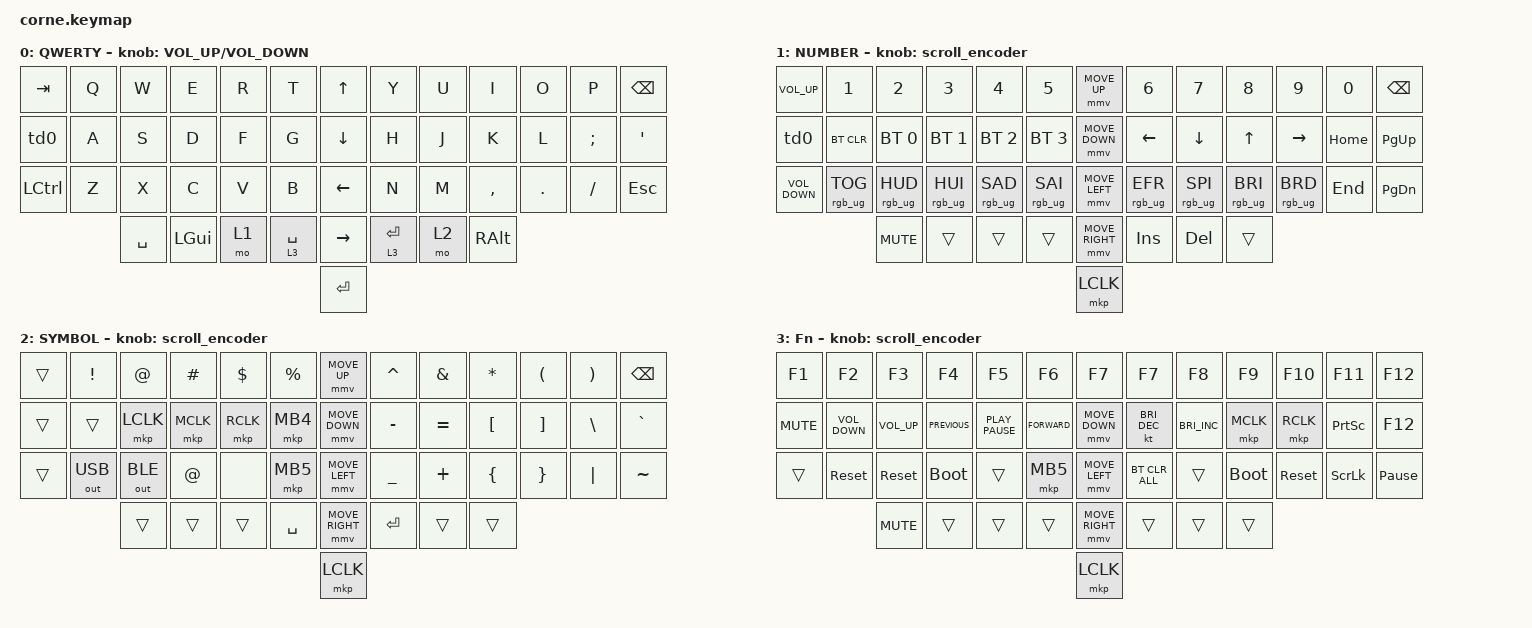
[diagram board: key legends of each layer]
#include <behaviors/mouse_keys.dtsi>
#include <dt-bindings/zmk/mouse.h>
#include <behaviors.dtsi>
#include <dt-bindings/zmk/bt.h>
#include <dt-bindings/zmk/keys.h>
#include <dt-bindings/zmk/outputs.h>
#include <dt-bindings/zmk/pointing.h>
#include <dt-bindings/zmk/rgb.h>

#define ZMK_MOUSE_DEFAULT_MOVE_VAL 1200  // 600
#define ZMK_MOUSE_DEFAULT_SCRL_VAL 20    // 10
#define U_MS_U &mmv MOVE_UP
#define U_MS_D &mmv MOVE_DOWN
#define U_MS_L &mmv MOVE_LEFT
#define U_MS_R &mmv MOVE_RIGHT

/ {
    behaviors {
        td0: td0 {
            compatible = "zmk,behavior-tap-dance";
            label = "TD0";
            #binding-cells = <0>;
            bindings = <&kp LEFT_SHIFT>, <&kp CAPS>;
        };

        mmv {
            acceleration-exponent = <1>;      // 1
            time-to-max-speed-ms = <900>;    // 40
            delay-ms = <0>;                   // 0
        };

        msc {
            acceleration-exponent = <1>;      // 0
            time-to-max-speed-ms = <400>;      // 500
            delay-ms = <0>;                   // 10
        };
    };

    rgb_encoder: rgb_encoder {
        compatible = "zmk,behavior-sensor-rotate";
        label = "RGB_ENCODER";
        #sensor-binding-cells = <0>;
        bindings = <&rgb_ug RGB_BRI>, <&rgb_ug RGB_BRD>;
    };

    scroll_encoder: scroll_encoder {
        compatible = "zmk,behavior-sensor-rotate";
        #sensor-binding-cells = <0>;
        bindings = <&msc SCRL_DOWN>, <&msc SCRL_UP>;

        tap-ms = <30>;
    };

    keymap {
        compatible = "zmk,keymap";

        default_layer {
            display-name = "QWERTY";

            // --------------------------------------------------------------------------------
            // |  TAB |  Q  |  W  |  E  |  R  |  T  |                ↑    |  Y  |  U   |  I  |  O  |  P  | BKSP |      &kp UP_ARROW 
            // | SHIFT |  A  |  S  |  D  |  F  |  G  |               ↓    |  H  |  J   |  K  |  L  |  ;  |  '   | 
            // | CTRL |  Z  |  X  |  C  |  V  |  B  |                ←    |  N  |  M   |  ,  |  .  |  /  | ESC  |
            //                    | GUI | LWR | SPC |                →    | ENT | RSE  | ALT |
            //                                                      enter

            bindings = <
&kp TAB    &kp Q  &kp W      &kp E     &kp R  &kp T          &kp UP_ARROW     &kp Y        &kp U  &kp I      &kp O    &kp P     &kp BSPC
&td0       &kp A  &kp S      &kp D     &kp F  &kp G          &kp DOWN_ARROW   &kp H        &kp J  &kp K      &kp L    &kp SEMI  &kp SQT
&kp LCTRL  &kp Z  &kp X      &kp C     &kp V  &kp B          &kp LEFT_ARROW   &kp N        &kp M  &kp COMMA  &kp DOT  &kp FSLH  &kp ESC
                  &kp SPACE  &kp LGUI  &mo 1  &lt 3 SPACE    &kp RIGHT_ARROW  &lt 3 ENTER  &mo 2  &kp RALT
                                                             &kp ENTER
            >;

            label = "QWERTY";
            sensor-bindings = <&inc_dec_kp C_VOLUME_UP C_VOLUME_DOWN>;
        };

        lower_layer {
            display-name = "NUMBER";

            // -----------------------------------------------------------------------------------------
            // |  TAB |  1  |  2  |  3  |  4  |  5  |   |  6  |  7  |  8  |  9  |  0  | BKSP |
            // | BTCLR| BT1 | BT2 | BT3 | BT4 | BT5 |   | LFT | DWN |  UP | RGT |     |      |
            // | SHFT |     |     |     |     |     |   |     |     |     |     |     |      |
            //                    | GUI |     | SPC |   | ENT |     | ALT |

            bindings = <
&kp C_VOLUME_UP    &kp N1           &kp N2           &kp N3           &kp N4           &kp N5             &mmv MOVE_UP     &kp N6           &kp N7           &kp N8           &kp N9           &kp N0    &kp BSPC
&td0               &bt BT_CLR       &bt BT_SEL 0     &bt BT_SEL 1     &bt BT_SEL 2     &bt BT_SEL 3       &mmv MOVE_DOWN   &kp LEFT         &kp DOWN         &kp UP           &kp RIGHT        &kp HOME  &kp PG_UP
&kp C_VOLUME_DOWN  &rgb_ug RGB_TOG  &rgb_ug RGB_HUD  &rgb_ug RGB_HUI  &rgb_ug RGB_SAD  &rgb_ug RGB_SAI    &mmv MOVE_LEFT   &rgb_ug RGB_EFR  &rgb_ug RGB_SPI  &rgb_ug RGB_BRI  &rgb_ug RGB_BRD  &kp END   &kp PG_DN
                                    &kp C_MUTE       &trans           &trans           &trans             &mmv MOVE_RIGHT  &kp INS          &kp DEL          &trans
                                                                                                          &mkp LCLK
            >;

            label = "NUMBER";
            sensor-bindings = <&scroll_encoder>;
        };

        raise_layer {
            display-name = "SYMBOL";

            // -----------------------------------------------------------------------------------------
            // |  TAB |  !  |  @  |  #  |  $  |  %  |   |  ^  |  &  |  *  |  (  |  )  | BKSP |
            // | CTRL |     |     |     |     |     |   |  -  |  =  |  [  |  ]  |  \  |  `   |
            // | SHFT |     |     |     |     |     |   |  _  |  +  |  {  |  }  | "|" |  ~   |
            //                    | GUI |     | SPC |   | ENT |     | ALT |

            bindings = <
&trans  &kp EXCL      &kp AT_SIGN   &kp HASH     &kp DLLR   &kp PRCNT    &mmv MOVE_UP     &kp CARET  &kp AMPS   &kp ASTRK  &kp LPAR  &kp RPAR  &kp BSPC
&trans  &trans        &mkp LCLK     &mkp MCLK    &mkp RCLK  &mkp MB4     &mmv MOVE_DOWN   &kp MINUS  &kp EQUAL  &kp LBKT   &kp RBKT  &kp BSLH  &kp GRAVE
&trans  &out OUT_USB  &out OUT_BLE  &kp AT_SIGN  &none      &mkp MB5     &mmv MOVE_LEFT   &kp UNDER  &kp PLUS   &kp LBRC   &kp RBRC  &kp PIPE  &kp TILDE
                      &trans        &trans       &trans     &kp SPACE    &mmv MOVE_RIGHT  &kp RET    &trans     &trans
                                                                         &mkp LCLK
            >;

            label = "SYMBOL";
            sensor-bindings = <&scroll_encoder>;
        };

        layer_3 {
            display-name = "Fn";
            bindings = <
&kp F1      &kp F2             &kp F3           &kp F4          &kp F5            &kp F6           &kp F7           &kp F7                &kp F8                &kp F9       &kp F10     &kp F11          &kp F12
&kp C_MUTE  &kp C_VOLUME_DOWN  &kp C_VOLUME_UP  &kp K_PREVIOUS  &kp K_PLAY_PAUSE  &kp K_FORWARD    &mmv MOVE_DOWN   &kt C_BRIGHTNESS_DEC  &kp C_BRIGHTNESS_INC  &mkp MCLK    &mkp RCLK   &kp PRINTSCREEN  &kp F12
&trans      &sys_reset         &sys_reset       &bootloader     &trans            &mkp MB5         &mmv MOVE_LEFT   &bt BT_CLR_ALL        &trans                &bootloader  &sys_reset  &kp SCROLLLOCK   &kp PAUSE_BREAK
                               &kp C_MUTE       &trans          &trans            &trans           &mmv MOVE_RIGHT  &trans                &trans                &trans
                                                                                                   &mkp LCLK
            >;

            label = "FN";
            sensor-bindings = <&scroll_encoder>;
        };
    };
};
